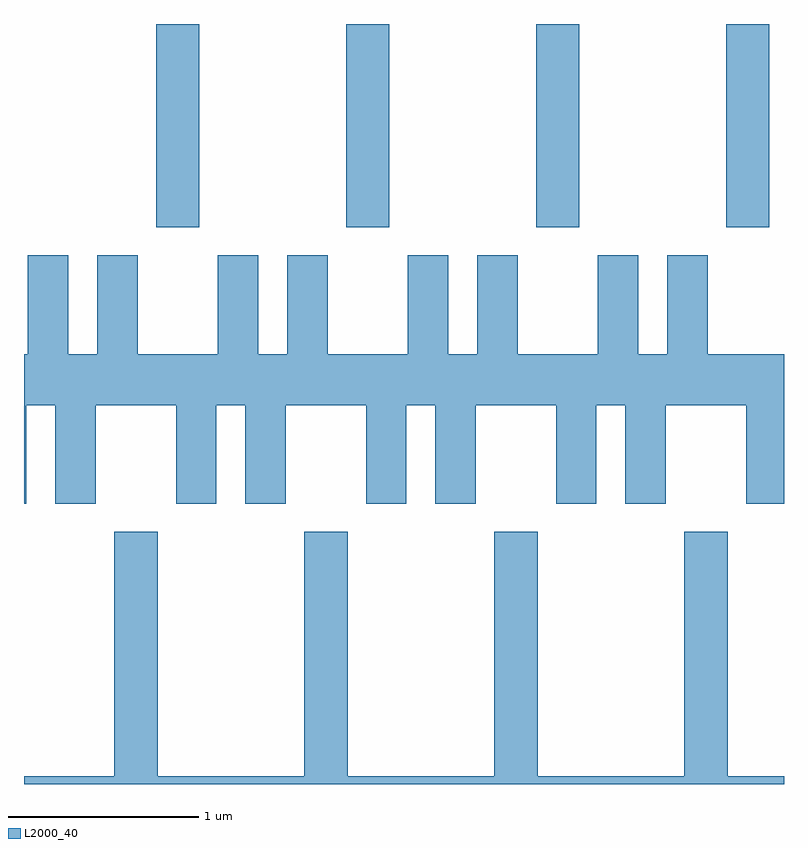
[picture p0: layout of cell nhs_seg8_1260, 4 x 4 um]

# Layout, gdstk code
import gdstk
lib = gdstk.Library(unit=1e-6, precision=1e-09)
def R(c, l, rs):  # rectangles x0, y0, x1, y1
    for r in rs: c.add(gdstk.rectangle(r[:2], r[2:], *l))
def A(c, l, x, y, w, h, nx, ny, dx, dy):  # array of equal rectangles
    R(c, l, [(x+i*dx, y+j*dy, x+i*dx+w, y+j*dy+h) for i in range(nx) for j in range(ny)])
def P(c, l, *ps):  # polygons
    for p in ps: c.add(gdstk.Polygon(p, *l))
L2000_40 = (2000, 40)

nhs_seg8_1260 = lib.new_cell('nhs_seg8_1260')
A(nhs_seg8_1260, L2000_40, 222.306, 1917.271, 0.228, 1.071, 4, 1, 1, 0)
P(nhs_seg8_1260, L2000_40, [(221.624,1916.336),(221.776,1916.336),(221.776,1915.816),(221.989,1915.816),(221.989,1916.336),(222.411,1916.336),(222.411,1915.816),(222.624,1915.816),(222.624,1916.336),(222.776,1916.336),(222.776,1915.816),(222.989,1915.816),(222.989,1916.336),(223.411,1916.336),(223.411,1915.816),(223.624,1915.816),(223.624,1916.336),(223.776,1916.336),(223.776,1915.816),(223.989,1915.816),(223.989,1916.336),(224.411,1916.336),(224.411,1915.816),(224.624,1915.816),(224.624,1916.336),(224.776,1916.336),(224.776,1915.816),(224.989,1915.816),(224.989,1916.336),(225.411,1916.336),(225.411,1915.816),(225.611,1915.816),(225.611,1916.604),(225.209,1916.604),(225.209,1917.124),(224.996,1917.124),(224.996,1916.604),(224.844,1916.604),(224.844,1917.124),(224.631,1917.124),(224.631,1916.604),(224.209,1916.604),(224.209,1917.124),(223.996,1917.124),(223.996,1916.604),(223.844,1916.604),(223.844,1917.124),(223.631,1917.124),(223.631,1916.604),(223.209,1916.604),(223.209,1917.124),(222.996,1917.124),(222.996,1916.604),(222.844,1916.604),(222.844,1917.124),(222.631,1917.124),(222.631,1916.604),(222.209,1916.604),(222.209,1917.124),(221.996,1917.124),(221.996,1916.604),(221.844,1916.604),(221.844,1917.124),(221.631,1917.124),(221.631,1916.604),(221.611,1916.604),(221.611,1915.816),(221.624,1915.816)],
  [(225.611,1914.384),(225.314,1914.384),(225.314,1915.669),(225.086,1915.669),(225.086,1914.384),(224.314,1914.384),(224.314,1915.669),(224.086,1915.669),(224.086,1914.384),(223.314,1914.384),(223.314,1915.669),(223.086,1915.669),(223.086,1914.384),(222.314,1914.384),(222.314,1915.669),(222.086,1915.669),(222.086,1914.384),(221.611,1914.384),(221.611,1914.342),(225.611,1914.342)])

lib.write_gds('nhs_seg8_1260.gds')
